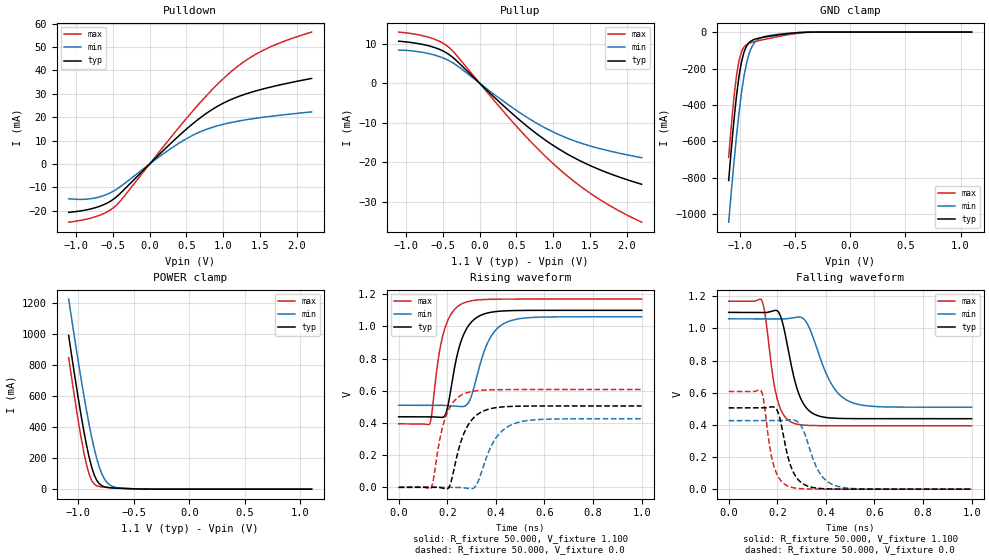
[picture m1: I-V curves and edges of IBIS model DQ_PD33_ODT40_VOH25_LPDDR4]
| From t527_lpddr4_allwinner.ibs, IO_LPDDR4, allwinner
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|   Model DQ_PD33_ODT40_VOH25_LPDDR4
[Model] DQ_PD33_ODT40_VOH25_LPDDR4
Model_type I/O
Polarity   Non-Inverting
Enable   Active-Low
Vinl =  0.550V
Vinh =  0.550V
C_comp   1.580pF   1.540pF   1.642pF
C_comp_pullup   0.520pF   0.501pF   0.543pF
C_comp_pulldown   0.796pF   0.767pF   0.835pF
[Model Spec]
Vinh   0.550V   0.530V   0.585V
Vinl   0.550V   0.530V   0.585V
[Temperature Range]   25.000   0.125k   -40.000
[Voltage Range]   1.100V   1.060V   1.170V
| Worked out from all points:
|   slope of the pulldown table from 0 to 0.165 V, typ, clamps not added: 32.2 ohm
|   slope of the pullup table from 0 to 0.165 V, typ, clamps not added: 56 ohm
|   GND clamp passes 1 mA (typ) near -0.41 V on its own axis
|   POWER clamp passes 1 mA (typ) near -0.43 V on its own axis
|   rising waveform, R_fixture 50.000, V_fixture 1.100: 20-80 % time 62.4ps typ, 75.3ps min, 52.9ps max; typ from 0.438 V to 1.1 V
|   rising waveform, R_fixture 50.000, V_fixture 0.0: 20-80 % time 67.2ps typ, 80.1ps min, 56.6ps max; typ from 0 V to 0.506 V
|   falling waveform, R_fixture 50.000, V_fixture 1.100: 20-80 % time 62.4ps typ, 91.9ps min, 45.5ps max; typ from 1.1 V to 0.439 V
|   falling waveform, R_fixture 50.000, V_fixture 0.0: 20-80 % time 51.5ps typ, 67.5ps min, 40.7ps max; typ from 0.506 V to 0 V
[Pulldown]
|Voltage   I(typ)   I(min)   I(max)
-1.1V     -20.67mA   -14.84mA   -24.89mA
-930mV    -20.03mA   -15.14mA   -24.06mA
-760mV    -18.88mA   -14.64mA   -22.78mA
-590mV    -16.91mA   -13.11mA   -20.68mA
-454mV    -14.12mA   -10.9mA    -17.68mA
396mV     12.02mA    8.861mA    15.57mA
668mV     19.29mA    13.5mA     25.63mA
940mV     25mA       16.51mA    34.69mA
1.212V    28.92mA    18.4mA     42.16mA
1.484V    31.62mA    19.73mA    47.67mA
1.79V     33.97mA    20.93mA    52.05mA
2.2V      36.6mA     22.29mA    56.42mA
[Pullup]
|Voltage   I(typ)   I(min)   I(max)
-1.1V     10.61mA    8.361mA    12.92mA
-690mV    9.44mA     7.47mA     11.6mA
-520mV    8.343mA    6.546mA    10.34mA
-418mV    7.275mA    5.712mA    9.069mA
-282mV    5.122mA    4.114mA    6.357mA
500mV     -8.627mA   -6.884mA   -10.88mA
772mV     -12.75mA   -10.09mA   -16.28mA
1.01V     -15.86mA   -12.43mA   -20.54mA
1.282V    -18.83mA   -14.54mA   -24.81mA
1.554V    -21.26mA   -16.14mA   -28.47mA
1.86V     -23.49mA   -17.55mA   -31.93mA
2.2V      -25.55mA   -18.83mA   -35.14mA
[GND_clamp]
|Voltage   I(typ)   I(min)   I(max)
-1.1V     -814.3mA   -1.043A    -687.3mA
-1.054V   -495.2mA   -726.8mA   -368.6mA
-1.031V   -359.9mA   -582mA     -246.8mA
-1.008V   -249mA     -451mA     -160.6mA
-985mV    -166.3mA   -337.4mA   -109.1mA
-962mV    -111mA     -244.1mA   -82.21mA
-939mV    -77.52mA   -172.2mA   -68.77mA
-893mV    -47.38mA   -84.61mA   -56.67mA
-847mV    -36.3mA    -46.06mA   -49.6mA
-709mV    -20.71mA   -16.6mA    -31.62mA
-364mV    -364.7uA   -458uA     -980.4uA
1.1V      0A         0A         0A
[POWER_clamp]
|Voltage   I(typ)   I(min)   I(max)
-1.085V   991.5mA    1.227A     848.5mA
-1.016V   664.1mA    901.8mA    518.1mA
-970mV    462mA      696.7mA    319.4mA
-924mV    282.7mA    505.5mA    156.2mA
-901mV    206.2mA    417.2mA    96.77mA
-855mV    91.54mA    261mA      33.12mA
-809mV    34.38mA    141.1mA    16.54mA
-763mV    15.18mA    65.46mA    12.33mA
-717mV    9.405mA    28.28mA    10.15mA
-625mV    5.457mA    7.413mA    6.614mA
-441mV    1.152mA    1.562mA    1.233mA
1.1V      0A         0A         0A
[Ramp]
| variable   typ   min   max
dV/dt_r   0.303/67.302p   0.256/80.124p   0.365/56.663p
dV/dt_f   0.397/62.505p   0.330/91.959p   0.465/45.643p
R_load = 50.000
[Rising Waveform]
R_fixture= 50.000
V_fixture= 1.100
V_fixture_min= 1.060
V_fixture_max= 1.170
|time   V(typ)   V(min)   V(max)
0s        438.5mV    510mV      394.4mV
128ps     438.5mV    510mV      396.2mV
163ps     435.3mV    509.8mV    796.5mV
184ps     436.7mV    509.7mV    956.3mV
200ps     488mV      508.1mV    1.029V
259ps     917.6mV    501.5mV    1.14V
294ps     1.018V     546.2mV    1.158V
373ps     1.086V     919.6mV    1.168V
440ps     1.097V     1.023V     1.17V
1ns       1.1V       1.06V      1.17V
[Rising Waveform]
R_fixture= 50.000
V_fixture= 0.0
V_fixture_min= 0.0
V_fixture_max= 0.0
|time   V(typ)   V(min)   V(max)
0s        1.801uV    45.91uV    127.2nV
133ps     667.3uV    135.9uV    -4.986mV
171ps     -1.309mV   -7.297uV   311.5mV
193ps     -10.79mV   558.3uV    435.9mV
213ps     21.77mV    524.2uV    502.9mV
271ps     343.6mV    -3.291mV   582.8mV
316ps     442.9mV    6.72mV     599.5mV
395ps     493.8mV    294.5mV    606.5mV
475ps     503.5mV    395.5mV    607.6mV
1ns       505.8mV    426.3mV    607.9mV
[Falling Waveform]
R_fixture= 50.000
V_fixture= 1.100
V_fixture_min= 1.060
V_fixture_max= 1.170
|time   V(typ)   V(min)   V(max)
0s        1.1V       1.06V      1.17V
136ps     1.099V     1.06V      1.175V
197ps     1.112V     1.059V     578.3mV
221ps     1.04V      1.059V     474.9mV
258ps     768.5mV    1.065V     417.1mV
290ps     588mV      1.071V     402.3mV
329ps     491mV      1.014V     396.8mV
418ps     443.2mV    667.6mV    394.6mV
496ps     439.1mV    546.2mV    394.4mV
1ns       438.5mV    510mV      394.4mV
[Falling Waveform]
R_fixture= 50.000
V_fixture= 0.0
V_fixture_min= 0.0
V_fixture_max= 0.0
|time   V(typ)   V(min)   V(max)
0s        505.8mV    426.3mV    607.9mV
134ps     505.2mV    426.3mV    610.7mV
144ps     505.3mV    426.4mV    554.8mV
185ps     511.1mV    426mV      149.9mV
208ps     456.2mV    426.3mV    66.77mV
246ps     189.9mV    431.1mV    17.88mV
305ps     34.21mV    374.8mV    2.364mV
368ps     5.616mV    117.1mV    271.2uV
435ps     838.1uV    23.98mV    27.09uV
1ns       1.804uV    46.05uV    129.2nV
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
